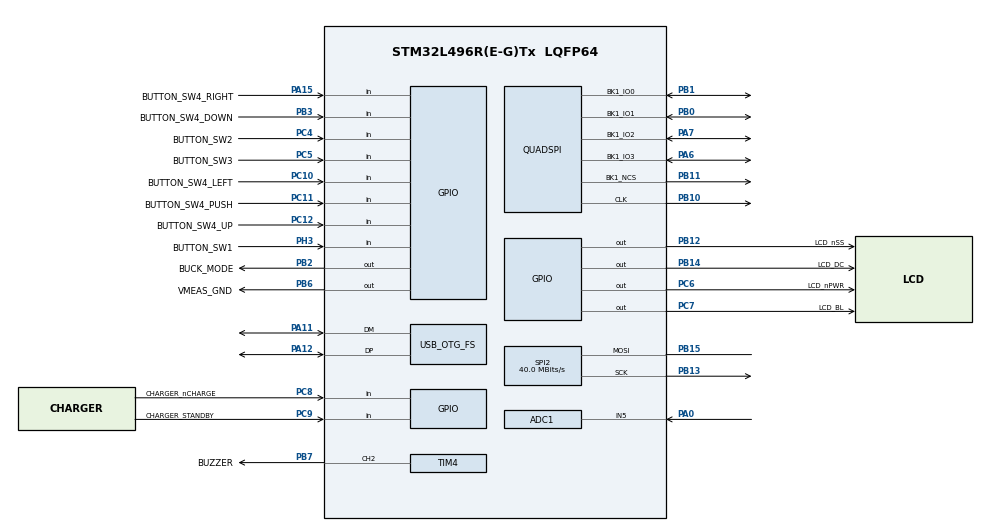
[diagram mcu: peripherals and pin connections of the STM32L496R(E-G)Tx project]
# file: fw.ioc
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ADC1.Channel-1\#ChannelRegularConversion=ADC_CHANNEL_5
ADC1.ClockPrescaler=ADC_CLOCK_ASYNC_DIV16
ADC1.ContinuousConvMode=ENABLE
ADC1.NbrOfConversionFlag=1
ADC1.OffsetNumber-1\#ChannelRegularConversion=ADC_OFFSET_NONE
ADC1.Rank-1\#ChannelRegularConversion=1
ADC1.SamplingTime-1\#ChannelRegularConversion=ADC_SAMPLETIME_640CYCLES_5
ADC1.master=1
Mcu.Family=STM32L4
Mcu.Name=STM32L496R(E-G)Tx
Mcu.Package=LQFP64
NVIC.OTG_FS_IRQn=true\:0\:0\:false\:false\:true\:true\:true\:true
NVIC.PriorityGroup=NVIC_PRIORITYGROUP_4
PA0.Signal=ADCx_IN5
PA11.Mode=Device_Only
PA11.Signal=USB_OTG_FS_DM
PA12.Mode=Device_Only
PA12.Signal=USB_OTG_FS_DP
PA13\ (JTMS/SWDIO).Mode=Serial_Wire
PA13\ (JTMS/SWDIO).Signal=SYS_JTMS-SWDIO
PA14\ (JTCK/SWCLK).Mode=Serial_Wire
PA14\ (JTCK/SWCLK).Signal=SYS_JTCK-SWCLK
PA15\ (JTDI).GPIO_Label=BUTTON_SW4_RIGHT
PA15\ (JTDI).GPIO_PuPd=GPIO_PULLUP
PA15\ (JTDI).Signal=GPIO_Input
PA6.GPIO_PuPd=GPIO_PULLUP
PA6.Mode=Single Bank 1
PA6.Signal=QUADSPI_BK1_IO3
PA7.GPIO_PuPd=GPIO_PULLUP
PA7.Mode=Single Bank 1
PA7.Signal=QUADSPI_BK1_IO2
PB0.GPIO_PuPd=GPIO_PULLUP
PB0.Mode=Single Bank 1
PB0.Signal=QUADSPI_BK1_IO1
PB1.GPIO_PuPd=GPIO_PULLUP
PB1.Mode=Single Bank 1
PB1.Signal=QUADSPI_BK1_IO0
PB10.Mode=Single Bank 1
PB10.Signal=QUADSPI_CLK
PB11.Mode=Single Bank 1
PB11.Signal=QUADSPI_BK1_NCS
PB12.GPIO_Label=LCD_nSS
PB12.GPIO_Speed=GPIO_SPEED_FREQ_VERY_HIGH
PB12.PinState=GPIO_PIN_SET
PB12.Signal=GPIO_Output
PB13.Mode=Simplex_Bidirectional_Master
PB13.Signal=SPI2_SCK
PB14.GPIO_Label=LCD_DC
PB14.Signal=GPIO_Output
PB15.Mode=Simplex_Bidirectional_Master
PB15.Signal=SPI2_MOSI
PB2.GPIO_Label=BUCK_MODE
PB2.GPIO_Speed=GPIO_SPEED_FREQ_MEDIUM
PB2.Signal=GPIO_Output
PB3\ (JTDO/TRACESWO).GPIO_Label=BUTTON_SW4_DOWN
PB3\ (JTDO/TRACESWO).GPIO_PuPd=GPIO_PULLUP
PB3\ (JTDO/TRACESWO).Signal=GPIO_Input
PB6.GPIO_Label=VMEAS_GND
PB6.GPIO_ModeDefaultOutputPP=GPIO_MODE_OUTPUT_OD
PB6.GPIO_PuPd=GPIO_NOPULL
PB6.GPIO_Speed=GPIO_SPEED_FREQ_VERY_HIGH
PB6.PinState=GPIO_PIN_SET
PB6.Signal=GPIO_Output
PB7.GPIO_Label=BUZZER
PB7.GPIO_Speed=GPIO_SPEED_FREQ_HIGH
PB7.Signal=S_TIM4_CH2
PC10.GPIO_Label=BUTTON_SW4_LEFT
PC10.GPIO_PuPd=GPIO_PULLUP
PC10.Signal=GPIO_Input
PC11.GPIO_Label=BUTTON_SW4_PUSH
PC11.GPIO_PuPd=GPIO_PULLUP
PC11.Signal=GPIO_Input
PC12.GPIO_Label=BUTTON_SW4_UP
PC12.GPIO_PuPd=GPIO_PULLUP
PC12.Signal=GPIO_Input
PC14-OSC32_IN\ (PC14).Mode=LSE-External-Oscillator
PC14-OSC32_IN\ (PC14).Signal=RCC_OSC32_IN
PC15-OSC32_OUT\ (PC15).Mode=LSE-External-Oscillator
PC15-OSC32_OUT\ (PC15).Signal=RCC_OSC32_OUT
PC4.GPIO_Label=BUTTON_SW2
PC4.GPIO_PuPd=GPIO_PULLUP
PC4.Signal=GPIO_Input
PC5.GPIO_Label=BUTTON_SW3
PC5.GPIO_PuPd=GPIO_PULLUP
PC5.Signal=GPIO_Input
PC6.GPIO_Label=LCD_nPWR
PC6.GPIO_ModeDefaultOutputPP=GPIO_MODE_OUTPUT_OD
PC6.GPIO_PuPd=GPIO_NOPULL
PC6.GPIO_Speed=GPIO_SPEED_FREQ_MEDIUM
PC6.PinState=GPIO_PIN_SET
PC6.Signal=GPIO_Output
PC7.GPIO_Label=LCD_BL
PC7.GPIO_Speed=GPIO_SPEED_FREQ_MEDIUM
PC7.Signal=GPIO_Output
PC8.GPIO_Label=CHARGER_nCHARGE
PC8.GPIO_PuPd=GPIO_PULLUP
PC8.Signal=GPIO_Input
PC9.GPIO_Label=CHARGER_STANDBY
PC9.GPIO_PuPd=GPIO_PULLUP
PC9.Signal=GPIO_Input
PH3-BOOT0.GPIO_Label=BUTTON_SW1
PH3-BOOT0.GPIO_ModeDefaultEXTI=GPIO_MODE_IT_RISING
PH3-BOOT0.GPIO_PuPd=GPIO_PULLDOWN
PH3-BOOT0.Signal=GPIO_Input
ProjectManager.HeapSize=0x100
ProjectManager.StackSize=0x800
ProjectManager.TargetToolchain=EWARM V8.32
QUADSPI.ClockPrescaler=15
QUADSPI.FifoThreshold=4
QUADSPI.FlashSize=20
QUADSPI.SampleShifting=QSPI_SAMPLE_SHIFTING_NONE
RCC.ADCFreq_Value=48000000
RCC.AHBFreq_Value=80000000
RCC.APB1Freq_Value=80000000
RCC.APB1TimFreq_Value=80000000
RCC.APB2Freq_Value=80000000
RCC.APB2TimFreq_Value=80000000
RCC.CortexFreq_Value=80000000
RCC.HCLKFreq_Value=80000000
RCC.HSE_VALUE=8000000
RCC.HSI48_VALUE=48000000
RCC.HSI_VALUE=16000000
RCC.MSI_VALUE=4000000
RCC.PLLN=40
RCC.PLLSAI1N=24
RCC.RTCClockSelection=RCC_RTCCLKSOURCE_LSE
RCC.SYSCLKFreq_VALUE=80000000
RCC.SYSCLKSource=RCC_SYSCLKSOURCE_PLLCLK
RCC.USBFreq_Value=48000000
RCC.VCOOutputFreq_Value=160000000
RCC.VDD_VALUE=3
SH.ADCx_IN5.0=ADC1_IN5,IN5-Single-Ended
SH.S_TIM4_CH2.0=TIM4_CH2,PWM Generation2 CH2
SPI2.BaudRatePrescaler=SPI_BAUDRATEPRESCALER_2
SPI2.CLKPolarity=SPI_POLARITY_HIGH
SPI2.CalculateBaudRate=40.0 MBits/s
SPI2.DataSize=SPI_DATASIZE_8BIT
SPI2.Direction=SPI_DIRECTION_1LINE
SPI2.Mode=SPI_MODE_MASTER
SPI2.VirtualType=VM_MASTER
TIM4.Channel-PWM\ Generation2\ CH2=TIM_CHANNEL_2
USB_OTG_FS.VirtualMode=Device_Only
VP_RTC_VS_RTC_Activate.Mode=RTC_Enabled
VP_RTC_VS_RTC_Calendar.Mode=RTC_Calendar
board=custom

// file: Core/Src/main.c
/* USER CODE BEGIN Header */
/**
  ******************************************************************************
  * @file           : main.c
  * @brief          : Main program body
  ******************************************************************************
  * @attention
  *
  * Copyright (c) 2026 STMicroelectronics.
  * All rights reserved.
  *
  * This software is licensed under terms that can be found in the LICENSE file
  * in the root directory of this software component.
  * If no LICENSE file comes with this software, it is provided AS-IS.
  *
  ******************************************************************************
  */
/* USER CODE END Header */
#include "main.h"
#include "adc.h"
#include "quadspi.h"
#include "rtc.h"
#include "spi.h"
#include "tim.h"
#include "usb_otg.h"
#include "gpio.h"

/* USER CODE BEGIN Includes */
#include <stdio.h>
#include <string.h>
#include "st7789.h"
#include "lcd.h"

/* USER CODE END Includes */

void SystemClock_Config(void);
void PeriphCommonClock_Config(void);

int main(void)
{

  /* MCU Configuration--------------------------------------------------------*/

  /* Reset of all peripherals, Initializes the Flash interface and the Systick. */
  HAL_Init();

  /* Configure the system clock */
  SystemClock_Config();

  /* Configure the peripherals common clocks */
  PeriphCommonClock_Config();

  /* Initialize all configured peripherals */
  MX_GPIO_Init();
  MX_ADC1_Init();
  MX_QUADSPI_Init();
  MX_SPI2_Init();
  MX_TIM4_Init();
  MX_RTC_Init();
  MX_USB_OTG_FS_PCD_Init();
  /* USER CODE BEGIN 2 */

  // Wait for wakeup to be released
  while( GPIO_PIN_RESET == HAL_GPIO_ReadPin( BUTTON_SW3_GPIO_Port, BUTTON_SW3_Pin ) );
  HAL_Delay( 50u );  // debounce

#define HAL_TIMER_PERIPH   (htim4)                  //!< Timer peripherial used by this driver
#define TIMER_CHANNEL      (TIM_CHANNEL_2)          //!< Timer channel used by this driver
#define PWM_DUTY           (htim4.Instance->CCR2)   //!< PWM duty cycle register
#define CLOCK_FREQ_HZ      (80000000)               //!< Clock frequency of the timer in Hz

  HAL_GPIO_WritePin( LCD_nPWR_GPIO_Port, LCD_nPWR_Pin, GPIO_PIN_RESET );
  HAL_GPIO_WritePin( LCD_BL_GPIO_Port, LCD_BL_Pin, GPIO_PIN_SET );

  ST7789_Init();
  LCD_init();
  ST7789_Fill_Color( BLACK );

  /* USER CODE END 2 */

  /* Infinite loop */
  while (1)
  {

    /* USER CODE BEGIN 3 */
    // Standby mode
    if( GPIO_PIN_RESET == HAL_GPIO_ReadPin( BUTTON_SW3_GPIO_Port, BUTTON_SW3_Pin ) )
    {
      // Wait for button to be released
      while( GPIO_PIN_RESET == HAL_GPIO_ReadPin( BUTTON_SW3_GPIO_Port, BUTTON_SW3_Pin ) );

      // Wait for debounce
      HAL_Delay( 200u );

      // Disable LCD & backlight
      HAL_GPIO_WritePin( LCD_nPWR_GPIO_Port, LCD_nPWR_Pin, GPIO_PIN_SET );
      HAL_GPIO_WritePin( LCD_BL_GPIO_Port, LCD_BL_Pin, GPIO_PIN_RESET );

      // Send QSPI flash to deep power-down
      QSPI_CommandTypeDef sCommand = { 0 };
      HAL_StatusTypeDef ret;
      /* Deep power down command --------------------------- */
      sCommand.InstructionMode = QSPI_INSTRUCTION_1_LINE;
      sCommand.Instruction = 0xB9u;
      sCommand.AddressMode = QSPI_ADDRESS_NONE;
      sCommand.AlternateByteMode = QSPI_ALTERNATE_BYTES_NONE;
      sCommand.DataMode = QSPI_DATA_NONE;
      sCommand.DummyCycles = 0;
      sCommand.DdrMode = QSPI_DDR_MODE_DISABLE;
      sCommand.DdrHoldHalfCycle = QSPI_DDR_HHC_ANALOG_DELAY;
      sCommand.SIOOMode = QSPI_SIOO_INST_EVERY_CMD;
      if ((ret = HAL_QSPI_Command(&hqspi, &sCommand,
                                  HAL_QPSI_TIMEOUT_DEFAULT_VALUE)) != HAL_OK)
      {
        //TODO: error handling
        HAL_Delay( 1000u );
      }

      // Enable wakeup on SW3 (== SYS_WAKEUP_PIN5, PC5)
      HAL_PWR_DisableWakeUpPin( PWR_CR3_EWUP );
      __HAL_PWR_CLEAR_FLAG( PWR_FLAG_WUF5 );
      HAL_PWREx_EnablePullUpPullDownConfig();
      HAL_PWREx_EnableGPIOPullUp( PWR_GPIO_C, PWR_GPIO_BIT_5 );
      HAL_PWR_EnableWakeUpPin( PWR_WAKEUP_PIN5_LOW );
      HAL_Delay( 50 );  // The pull-up resistor needs some time to activate

      // Disable SysTick timer
      HAL_SuspendTick();

      /* Set RTC back-up register RTC_BKP31R to indicate
         later on that system has entered shutdown mode  */
      WRITE_REG( RTC->BKP31R, 0x1 );

      // Enter deep sleep
      HAL_PWREx_EnableLowPowerRunMode();
      // Clear WUFx flags (Wakeup Flags) in PWR Status Register
      __HAL_PWR_CLEAR_FLAG( PWR_FLAG_WUF1 | PWR_FLAG_WUF2 | PWR_FLAG_WUF3 | PWR_FLAG_WUF4 | PWR_FLAG_WUF5 );
      // Enter Shutdown Mode --> point of no return
      HAL_PWREx_EnterSHUTDOWNMode();

      // If for some reason we get here...
      HAL_NVIC_SystemReset();
    }

    if( GPIO_PIN_RESET == HAL_GPIO_ReadPin( BUTTON_SW2_GPIO_Port, BUTTON_SW2_Pin ) )
    {
      ST7789_Test();
      ST7789_Fill_Color( BLACK );
    }

    if( GPIO_PIN_SET == HAL_GPIO_ReadPin( BUTTON_SW1_GPIO_Port, BUTTON_SW1_Pin ) )
    {
      uint32_t u32NewPeriod;
      for( uint32_t u32Frequency = 440u; u32Frequency < 4000u; u32Frequency += 10 )
      {
        u32NewPeriod = ( (CLOCK_FREQ_HZ/u32Frequency)/1000u ) - 1u;
        if( u32NewPeriod != HAL_TIMER_PERIPH.Init.Period )  // Set only if it's different from previous value
        {
          HAL_TIMER_PERIPH.Init.Prescaler = 1000u - 1u;
          HAL_TIMER_PERIPH.Init.Period = u32NewPeriod;
          HAL_TIM_PWM_Init( &HAL_TIMER_PERIPH );
        }
        // Set duty cycle
        PWM_DUTY = ( (uint32_t)(HAL_TIMER_PERIPH.Init.Period + 1u) * 127u )/255u;
        HAL_TIM_PWM_Start( &HAL_TIMER_PERIPH, TIMER_CHANNEL );
        HAL_Delay(5);
      }
      PWM_DUTY = 0u;
    }

    static uint32_t u32Timer = 0u;
    if( HAL_GetTick() - u32Timer > 100u )
    {
      u32Timer = HAL_GetTick();

      // Measure battery/input voltage
      HAL_GPIO_WritePin( VMEAS_GND_GPIO_Port, VMEAS_GND_Pin, GPIO_PIN_RESET );
      HAL_Delay(1u);
      HAL_ADC_Start( &hadc1 );
      HAL_ADC_PollForConversion( &hadc1, 100 );
      uint16_t u16ADCmeasurement = HAL_ADC_GetValue( &hadc1 );
      HAL_ADC_Stop( &hadc1 );
      HAL_GPIO_WritePin( VMEAS_GND_GPIO_Port, VMEAS_GND_Pin, GPIO_PIN_SET );
      char acString[] = "Voltage: 0.00 V";
      snprintf( acString, sizeof( acString ), "Voltage: %1.2f V", (((float)u16ADCmeasurement)*(2.0f*3.0f/4095.0f)) );

      // Display charger status
      ST7789_WriteString( 10, 10, acString, Font_11x18, WHITE, BLACK );
      ST7789_WriteString( 10, 28, "nCHARGE: ", Font_11x18, WHITE, BLACK );
      if( GPIO_PIN_SET == HAL_GPIO_ReadPin( CHARGER_nCHARGE_GPIO_Port, CHARGER_nCHARGE_Pin ) )
      {
        ST7789_WriteString( 109, 28, "1", Font_11x18, WHITE, BLACK );
      }
      else
      {
        ST7789_WriteString( 109, 28, "0", Font_11x18, WHITE, BLACK );
      }
      ST7789_WriteString( 10, 46, "Standby: ", Font_11x18, WHITE, BLACK );
      if( GPIO_PIN_SET == HAL_GPIO_ReadPin( CHARGER_STANDBY_GPIO_Port, CHARGER_STANDBY_Pin ) )
      {
        ST7789_WriteString( 109, 46, "1", Font_11x18, WHITE, BLACK );
      }
      else
      {
        ST7789_WriteString( 109, 46, "0", Font_11x18, WHITE, BLACK );
      }

      // Display RTC
      RTC_DateTypeDef sdatestructureget;
      RTC_TimeTypeDef stimestructureget;
      /* Get the RTC current Time */
      HAL_RTC_GetTime( &hrtc, &stimestructureget, RTC_FORMAT_BIN );
      /* Get the RTC current Date */
      HAL_RTC_GetDate( &hrtc, &sdatestructureget, RTC_FORMAT_BIN );
      /* Display time Format : hh:mm:ss */
      snprintf( acString,sizeof( acString ),"%02d:%02d:%02d",stimestructureget.Hours, stimestructureget.Minutes, stimestructureget.Seconds );
      ST7789_WriteString( 10, 64, acString, Font_16x26, WHITE, BLACK );
    }

  }
  /* USER CODE END 3 */
}

void SystemClock_Config(void)
{
  LL_FLASH_SetLatency(LL_FLASH_LATENCY_4);
  while(LL_FLASH_GetLatency()!= LL_FLASH_LATENCY_4)
  {
  }
  LL_PWR_SetRegulVoltageScaling(LL_PWR_REGU_VOLTAGE_SCALE1);
  while (LL_PWR_IsActiveFlag_VOS() != 0)
  {
  }
  LL_RCC_MSI_Enable();

   /* Wait till MSI is ready */
  while(LL_RCC_MSI_IsReady() != 1)
  {

  }
  LL_RCC_MSI_EnableRangeSelection();
  LL_RCC_MSI_SetRange(LL_RCC_MSIRANGE_6);
  LL_RCC_MSI_SetCalibTrimming(0);
  LL_PWR_EnableBkUpAccess();
  LL_RCC_LSE_SetDriveCapability(LL_RCC_LSEDRIVE_LOW);
  LL_RCC_LSE_Enable();

   /* Wait till LSE is ready */
  while(LL_RCC_LSE_IsReady() != 1)
  {

  }
  LL_RCC_MSI_EnablePLLMode();
  LL_RCC_PLL_ConfigDomain_SYS(LL_RCC_PLLSOURCE_MSI, LL_RCC_PLLM_DIV_1, 40, LL_RCC_PLLR_DIV_2);
  LL_RCC_PLL_EnableDomain_SYS();
  LL_RCC_PLL_Enable();

   /* Wait till PLL is ready */
  while(LL_RCC_PLL_IsReady() != 1)
  {

  }
  LL_RCC_SetSysClkSource(LL_RCC_SYS_CLKSOURCE_PLL);

   /* Wait till System clock is ready */
  while(LL_RCC_GetSysClkSource() != LL_RCC_SYS_CLKSOURCE_STATUS_PLL)
  {

  }
  LL_RCC_SetAHBPrescaler(LL_RCC_SYSCLK_DIV_1);
  LL_RCC_SetAPB1Prescaler(LL_RCC_APB1_DIV_1);
  LL_RCC_SetAPB2Prescaler(LL_RCC_APB2_DIV_1);
  LL_SetSystemCoreClock(80000000);

   /* Update the time base */
  if (HAL_InitTick (TICK_INT_PRIORITY) != HAL_OK)
  {
    Error_Handler();
  }
}

void PeriphCommonClock_Config(void)
{
  LL_RCC_PLLSAI1_ConfigDomain_48M(LL_RCC_PLLSOURCE_MSI, LL_RCC_PLLM_DIV_1, 24, LL_RCC_PLLSAI1Q_DIV_2);
  LL_RCC_PLLSAI1_ConfigDomain_ADC(LL_RCC_PLLSOURCE_MSI, LL_RCC_PLLM_DIV_1, 24, LL_RCC_PLLSAI1R_DIV_2);
  LL_RCC_PLLSAI1_EnableDomain_48M();
  LL_RCC_PLLSAI1_EnableDomain_ADC();
  LL_RCC_PLLSAI1_Enable();

   /* Wait till PLLSAI1 is ready */
  while(LL_RCC_PLLSAI1_IsReady() != 1)
  {

  }
}

void Error_Handler(void)
{
  __disable_irq();
  while (1)
  {
  }
}
